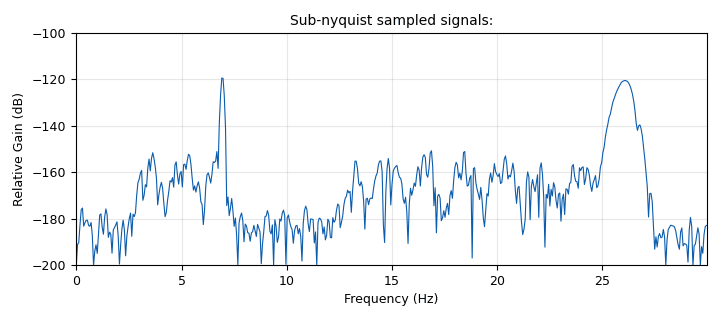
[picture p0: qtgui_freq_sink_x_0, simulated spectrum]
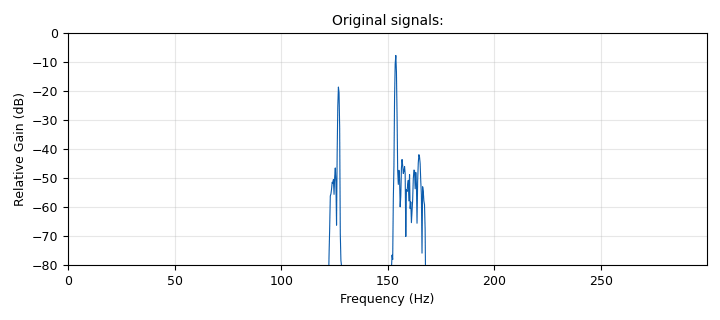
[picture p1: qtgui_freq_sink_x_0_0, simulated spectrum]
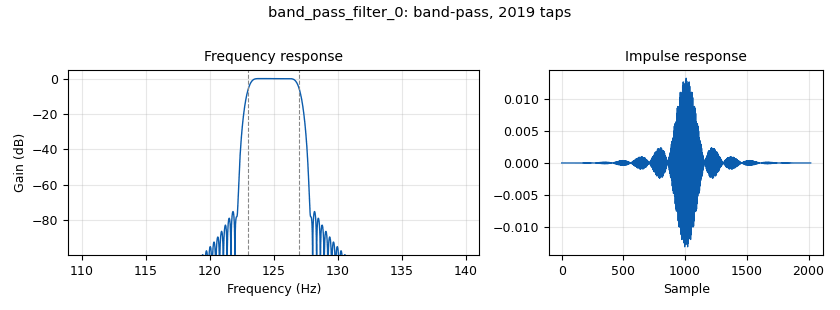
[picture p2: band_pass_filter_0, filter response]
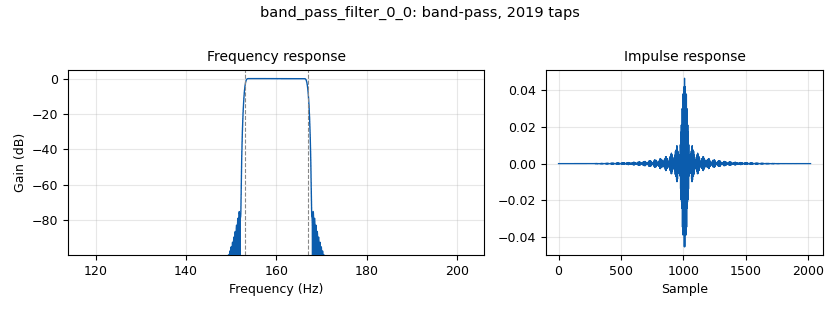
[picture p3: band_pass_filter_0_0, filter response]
<?xml version='1.0' encoding='utf-8'?>
<?grc format='1' created='3.7.13'?>
<flow_graph>
<block>
<key>options</key>
<param><key>id</key><value>top_block</value></param>
<param><key>generate_options</key><value>qt_gui</value></param>
</block>
<block>
<key>variable</key>
<param><key>id</key><value>new_fs</value></param>
<param><key>value</key><value>60</value></param>
</block>
<block>
<key>variable</key>
<param><key>id</key><value>samp_rate</value></param>
<param><key>value</key><value>600</value></param>
</block>
<block>
<key>analog_fastnoise_source_x</key>
<param><key>id</key><value>analog_fastnoise_source_x_0</value></param>
<param><key>amp</key><value>0.3</value></param>
<param><key>noise_type</key><value>analog.GR_GAUSSIAN</value></param>
<param><key>type</key><value>float</value></param>
<param><key>seed</key><value>0</value></param>
<param><key>samples</key><value>8192</value></param>
</block>
<block>
<key>analog_fastnoise_source_x</key>
<param><key>id</key><value>analog_fastnoise_source_x_0_0</value></param>
<param><key>amp</key><value>0.3</value></param>
<param><key>noise_type</key><value>analog.GR_GAUSSIAN</value></param>
<param><key>type</key><value>float</value></param>
<param><key>seed</key><value>0</value></param>
<param><key>samples</key><value>8192</value></param>
</block>
<block>
<key>analog_sig_source_x</key>
<param><key>id</key><value>analog_sig_source_x_0_0_0</value></param>
<param><key>amp</key><value>7</value></param>
<param><key>freq</key><value>0.0294/4</value></param>
<param><key>offset</key><value>160</value></param>
<param><key>type</key><value>float</value></param>
<param><key>samp_rate</key><value>samp_rate</value></param>
<param><key>waveform</key><value>analog.GR_COS_WAVE</value></param>
</block>
<block>
<key>analog_sig_source_x</key>
<param><key>id</key><value>analog_sig_source_x_0_0_0_0</value></param>
<param><key>amp</key><value>2</value></param>
<param><key>freq</key><value>0.0294/8</value></param>
<param><key>offset</key><value>125</value></param>
<param><key>type</key><value>float</value></param>
<param><key>samp_rate</key><value>samp_rate</value></param>
<param><key>waveform</key><value>analog.GR_SIN_WAVE</value></param>
</block>
<block>
<key>band_pass_filter</key>
<param><key>id</key><value>band_pass_filter_0</value></param>
<param><key>decim</key><value>1</value></param>
<param><key>type</key><value>fir_filter_fff</value></param>
<param><key>gain</key><value>1</value></param>
<param><key>high_cutoff_freq</key><value>127</value></param>
<param><key>low_cutoff_freq</key><value>123</value></param>
<param><key>samp_rate</key><value>samp_rate</value></param>
<param><key>width</key><value>1</value></param>
<param><key>win</key><value>firdes.WIN_BLACKMAN</value></param>
</block>
<block>
<key>band_pass_filter</key>
<param><key>id</key><value>band_pass_filter_0_0</value></param>
<param><key>decim</key><value>1</value></param>
<param><key>type</key><value>fir_filter_fff</value></param>
<param><key>gain</key><value>1</value></param>
<param><key>high_cutoff_freq</key><value>167</value></param>
<param><key>low_cutoff_freq</key><value>153</value></param>
<param><key>samp_rate</key><value>samp_rate</value></param>
<param><key>width</key><value>1</value></param>
<param><key>win</key><value>firdes.WIN_BLACKMAN</value></param>
</block>
<block>
<key>blocks_add_xx</key>
<param><key>id</key><value>blocks_add_xx_0</value></param>
<param><key>type</key><value>float</value></param>
</block>
<block>
<key>blocks_add_xx</key>
<param><key>id</key><value>blocks_add_xx_0_0</value></param>
<param><key>type</key><value>float</value></param>
</block>
<block>
<key>blocks_add_xx</key>
<param><key>id</key><value>blocks_add_xx_0_0_0</value></param>
<param><key>type</key><value>float</value></param>
</block>
<block>
<key>blocks_vco_f</key>
<param><key>id</key><value>blocks_vco_f_0</value></param>
<param><key>amplitude</key><value>2</value></param>
<param><key>samp_rate</key><value>samp_rate</value></param>
<param><key>sensitivity</key><value>2 * 3.1416</value></param>
</block>
<block>
<key>blocks_vco_f</key>
<param><key>id</key><value>blocks_vco_f_0_0</value></param>
<param><key>amplitude</key><value>1</value></param>
<param><key>samp_rate</key><value>samp_rate</value></param>
<param><key>sensitivity</key><value>2 * 3.1416</value></param>
</block>
<block>
<key>qtgui_freq_sink_x</key>
<param><key>id</key><value>qtgui_freq_sink_x_0</value></param>
<param><key>bw</key><value>new_fs</value></param>
<param><key>fc</key><value>0</value></param>
<param><key>fftsize</key><value>1024</value></param>
<param><key>name</key><value>"Sub-nyquist sampled signals:"</value></param>
<param><key>showports</key><value>True</value></param>
<param><key>freqhalf</key><value>False</value></param>
<param><key>type</key><value>float</value></param>
<param><key>update_time</key><value>0.1</value></param>
<param><key>wintype</key><value>firdes.WIN_BLACKMAN</value></param>
<param><key>ymax</key><value>-100</value></param>
<param><key>ymin</key><value>-200</value></param>
</block>
<block>
<key>qtgui_freq_sink_x</key>
<param><key>id</key><value>qtgui_freq_sink_x_0_0</value></param>
<param><key>bw</key><value>samp_rate</value></param>
<param><key>fc</key><value>0</value></param>
<param><key>fftsize</key><value>2048</value></param>
<param><key>name</key><value>"Original signals:"</value></param>
<param><key>showports</key><value>True</value></param>
<param><key>freqhalf</key><value>False</value></param>
<param><key>type</key><value>float</value></param>
<param><key>update_time</key><value>0.1</value></param>
<param><key>wintype</key><value>firdes.WIN_BLACKMAN</value></param>
<param><key>ymax</key><value>0</value></param>
<param><key>ymin</key><value>-80</value></param>
</block>
<block>
<key>rational_resampler_xxx</key>
<param><key>id</key><value>rational_resampler_xxx_0</value></param>
<param><key>decim</key><value>10</value></param>
<param><key>interp</key><value>1</value></param>
<param><key>taps</key><value></value></param>
<param><key>type</key><value>fff</value></param>
</block>
<connection><source_block_id>analog_fastnoise_source_x_0</source_block_id><sink_block_id>blocks_add_xx_0_0_0</sink_block_id><source_key>0</source_key><sink_key>0</sink_key></connection>
<connection><source_block_id>analog_fastnoise_source_x_0_0</source_block_id><sink_block_id>blocks_add_xx_0_0</sink_block_id><source_key>0</source_key><sink_key>0</sink_key></connection>
<connection><source_block_id>analog_sig_source_x_0_0_0</source_block_id><sink_block_id>blocks_vco_f_0</sink_block_id><source_key>0</source_key><sink_key>0</sink_key></connection>
<connection><source_block_id>analog_sig_source_x_0_0_0_0</source_block_id><sink_block_id>blocks_vco_f_0_0</sink_block_id><source_key>0</source_key><sink_key>0</sink_key></connection>
<connection><source_block_id>band_pass_filter_0</source_block_id><sink_block_id>blocks_add_xx_0</sink_block_id><source_key>0</source_key><sink_key>1</sink_key></connection>
<connection><source_block_id>band_pass_filter_0_0</source_block_id><sink_block_id>blocks_add_xx_0</sink_block_id><source_key>0</source_key><sink_key>0</sink_key></connection>
<connection><source_block_id>blocks_add_xx_0</source_block_id><sink_block_id>qtgui_freq_sink_x_0_0</sink_block_id><source_key>0</source_key><sink_key>0</sink_key></connection>
<connection><source_block_id>blocks_add_xx_0</source_block_id><sink_block_id>rational_resampler_xxx_0</sink_block_id><source_key>0</source_key><sink_key>0</sink_key></connection>
<connection><source_block_id>blocks_add_xx_0_0</source_block_id><sink_block_id>band_pass_filter_0_0</sink_block_id><source_key>0</source_key><sink_key>0</sink_key></connection>
<connection><source_block_id>blocks_add_xx_0_0_0</source_block_id><sink_block_id>band_pass_filter_0</sink_block_id><source_key>0</source_key><sink_key>0</sink_key></connection>
<connection><source_block_id>blocks_vco_f_0</source_block_id><sink_block_id>blocks_add_xx_0_0</sink_block_id><source_key>0</source_key><sink_key>1</sink_key></connection>
<connection><source_block_id>blocks_vco_f_0_0</source_block_id><sink_block_id>blocks_add_xx_0_0_0</sink_block_id><source_key>0</source_key><sink_key>1</sink_key></connection>
<connection><source_block_id>rational_resampler_xxx_0</source_block_id><sink_block_id>qtgui_freq_sink_x_0</sink_block_id><source_key>0</source_key><sink_key>0</sink_key></connection>
</flow_graph>
